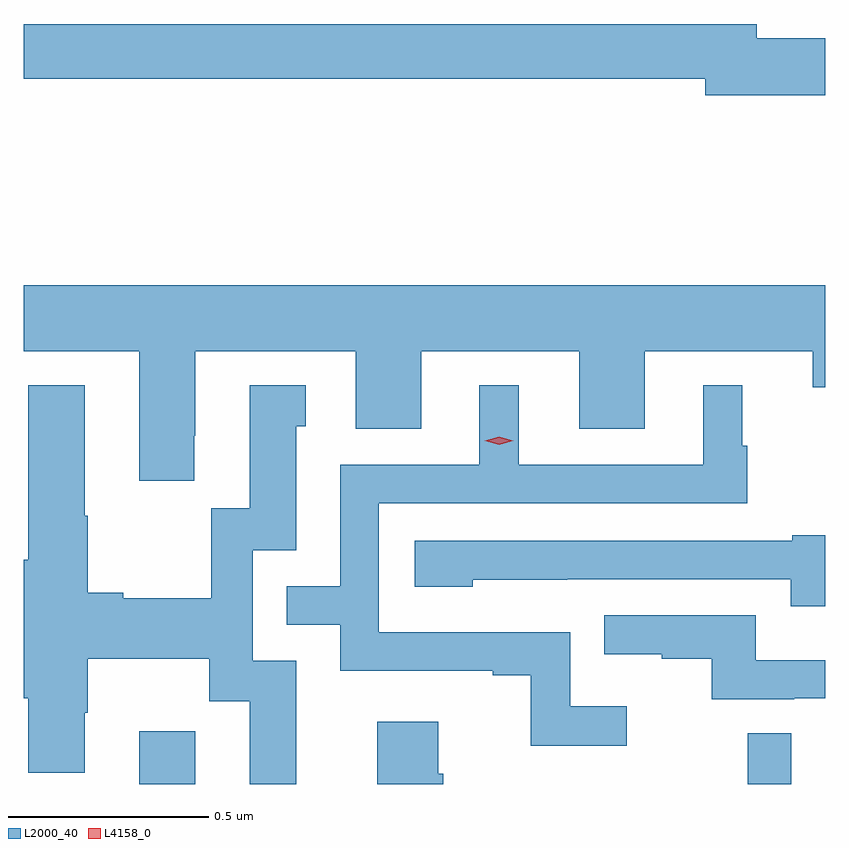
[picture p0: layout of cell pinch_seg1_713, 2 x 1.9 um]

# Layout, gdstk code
import gdstk
lib = gdstk.Library(unit=1e-6, precision=1e-09)
def R(c, l, rs):  # rectangles x0, y0, x1, y1
    for r in rs: c.add(gdstk.rectangle(r[:2], r[2:], *l))
def P(c, l, *ps):  # polygons
    for p in ps: c.add(gdstk.Polygon(p, *l))
L2000_40 = (2000, 40)
L4158_0 = (4158, 0)

pinch_seg1_713 = lib.new_cell('pinch_seg1_713')
R(pinch_seg1_713, L2000_40, [(696.065,574.628,696.205,574.759), (697.584,574.628,697.692,574.754)])
P(pinch_seg1_713, L2000_40, [(697.777,576.488),(697.606,576.488),(697.606,576.524),(695.777,576.524),(695.777,576.388),(697.478,576.388),(697.478,576.346),(697.777,576.346)],
  [(696.202,575.497),(696.205,575.497),(696.205,575.708),(696.605,575.708),(696.605,575.514),(696.769,575.514),(696.769,575.708),(697.163,575.708),(697.163,575.514),(697.327,575.514),(697.327,575.708),(697.745,575.708),(697.745,575.618),(697.777,575.618),(697.777,575.872),(695.777,575.872),(695.777,575.708),(696.065,575.708),(696.065,575.385),(696.202,575.385)],
  [(697.282,574.822),(697.14,574.822),(697.14,575.007),(696.663,575.007),(696.663,575.328),(697.582,575.328),(697.582,575.472),(697.57,575.472),(697.57,575.623),(697.472,575.623),(697.472,575.424),(697.012,575.424),(697.012,575.623),(696.914,575.623),(696.914,575.424),(696.567,575.424),(696.567,575.121),(696.433,575.121),(696.433,575.025),(696.567,575.025),(696.567,574.911),(696.947,574.911),(696.947,574.899),(697.042,574.899),(697.042,574.724),(697.282,574.724)],
  [(696.457,574.935),(696.348,574.935),(696.348,575.211),(696.457,575.211),(696.457,575.52),(696.481,575.52),(696.481,575.623),(696.341,575.623),(696.341,575.316),(696.245,575.316),(696.245,575.092),(696.025,575.092),(696.025,575.105),(695.937,575.105),(695.937,575.297),(695.929,575.297),(695.929,575.623),(695.789,575.623),(695.789,575.188),(695.777,575.188),(695.777,574.842),(695.789,574.842),(695.789,574.656),(695.929,574.656),(695.929,574.806),(695.937,574.806),(695.937,574.94),(696.24,574.94),(696.24,574.834),(696.341,574.834),(696.341,574.628),(696.457,574.628)],
  [(697.777,575.248),(697.695,575.248),(697.695,575.235),(696.753,575.235),(696.753,575.12),(696.897,575.12),(696.897,575.138),(697.133,575.138),(697.133,575.139),(697.691,575.139),(697.691,575.072),(697.777,575.072)],
  [(697.7,574.842),(697.777,574.842),(697.777,574.937),(697.603,574.937),(697.603,575.049),(697.225,575.049),(697.225,574.952),(697.369,574.952),(697.369,574.941),(697.493,574.941),(697.493,574.839),(697.7,574.839)],
  [(696.824,574.653),(696.811,574.653),(696.811,574.783),(696.659,574.783),(696.659,574.628),(696.824,574.628)])
P(pinch_seg1_713, L4158_0, [(696.963,575.474),(696.927,575.484),(696.927,575.484),(696.927,575.484),(696.963,575.494),(696.998,575.484),(696.999,575.484),(696.998,575.484)])

lib.write_gds('pinch_seg1_713.gds')
